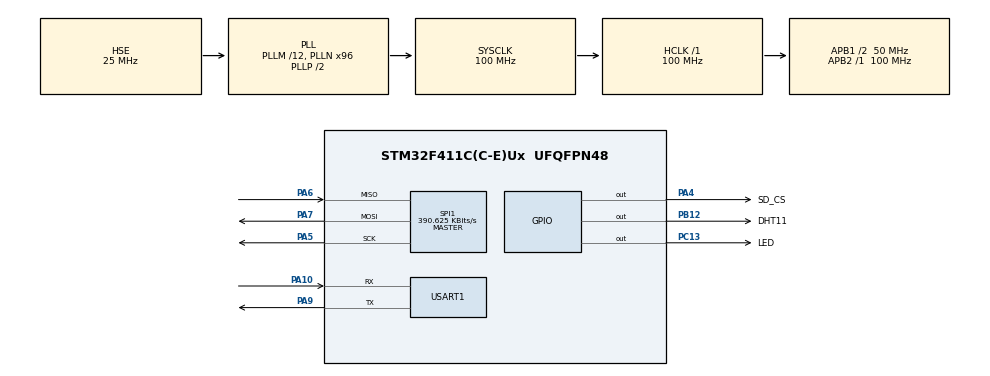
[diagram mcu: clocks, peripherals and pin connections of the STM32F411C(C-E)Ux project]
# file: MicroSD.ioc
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Mcu.Family=STM32F4
Mcu.Name=STM32F411C(C-E)Ux
Mcu.Package=UFQFPN48
NVIC.PriorityGroup=NVIC_PRIORITYGROUP_4
PA10.Mode=Asynchronous
PA10.Signal=USART1_RX
PA13.Mode=Serial_Wire
PA13.Signal=SYS_JTMS-SWDIO
PA14.Mode=Serial_Wire
PA14.Signal=SYS_JTCK-SWCLK
PA4.GPIO_Label=SD_CS
PA4.GPIO_PuPd=GPIO_PULLUP
PA4.PinState=GPIO_PIN_SET
PA4.Signal=GPIO_Output
PA5.GPIO_PuPd=GPIO_NOPULL
PA5.Mode=Full_Duplex_Master
PA5.Signal=SPI1_SCK
PA6.GPIO_PuPd=GPIO_NOPULL
PA6.Mode=Full_Duplex_Master
PA6.Signal=SPI1_MISO
PA7.GPIO_PuPd=GPIO_NOPULL
PA7.Mode=Full_Duplex_Master
PA7.Signal=SPI1_MOSI
PA9.Mode=Asynchronous
PA9.Signal=USART1_TX
PB12.GPIO_Label=DHT11
PB12.PinState=GPIO_PIN_SET
PB12.Signal=GPIO_Output
PC13-ANTI_TAMP.GPIO_Label=LED
PC13-ANTI_TAMP.Signal=GPIO_Output
PH0\ -\ OSC_IN.Mode=HSE-External-Oscillator
PH0\ -\ OSC_IN.Signal=RCC_OSC_IN
PH1\ -\ OSC_OUT.Mode=HSE-External-Oscillator
PH1\ -\ OSC_OUT.Signal=RCC_OSC_OUT
ProjectManager.HeapSize=0x200
ProjectManager.StackSize=0x1000
ProjectManager.TargetToolchain=STM32CubeIDE
RCC.48MHZClocksFreq_Value=50000000
RCC.AHBFreq_Value=100000000
RCC.APB1CLKDivider=RCC_HCLK_DIV2
RCC.APB1Freq_Value=50000000
RCC.APB1TimFreq_Value=100000000
RCC.APB2Freq_Value=100000000
RCC.APB2TimFreq_Value=100000000
RCC.CortexFreq_Value=100000000
RCC.HCLKFreq_Value=100000000
RCC.HSE_VALUE=25000000
RCC.HSI_VALUE=16000000
RCC.LSE_VALUE=32768
RCC.PLLM=12
RCC.PLLN=96
RCC.PLLSourceVirtual=RCC_PLLSOURCE_HSE
RCC.SYSCLKFreq_VALUE=100000000
RCC.SYSCLKSource=RCC_SYSCLKSOURCE_PLLCLK
RCC.VCOOutputFreq_Value=200000000
SPI1.BaudRatePrescaler=SPI_BAUDRATEPRESCALER_256
SPI1.CalculateBaudRate=390.625 KBits/s
SPI1.Direction=SPI_DIRECTION_2LINES
SPI1.Mode=SPI_MODE_MASTER
SPI1.VirtualType=VM_MASTER
TIM9.Prescaler=99
USART1.VirtualMode=VM_ASYNC
VP_FATFS_VS_Generic.Mode=User_defined
VP_TIM9_VS_ClockSourceINT.Mode=Internal
board=custom

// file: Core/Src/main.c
/* USER CODE BEGIN Header */
/**
  ******************************************************************************
  * @file           : main.c
  * @brief          : Main program body
  ******************************************************************************
  * @attention
  *
  * Copyright (c) 2026 STMicroelectronics.
  * All rights reserved.
  *
  * This software is licensed under terms that can be found in the LICENSE file
  * in the root directory of this software component.
  * If no LICENSE file comes with this software, it is provided AS-IS.
  *
  ******************************************************************************
  */
/* USER CODE END Header */
#include "main.h"
#include "fatfs.h"

/* USER CODE BEGIN Includes */
#include "dht11.h"
#include "string.h"
#include "sd_functions.h"
/* USER CODE END Includes */

/* USER CODE BEGIN PD */
#define INTERVALO_DHT   2000  // Leer sensor cada 2s
#define INTERVALO_CHECK 5000  // Verificar Join cada 5s
#define INTERVALO_SEND  15000 // Enviar datos cada 15s
/* USER CODE END PD */

SPI_HandleTypeDef hspi1;

TIM_HandleTypeDef htim9;

UART_HandleTypeDef huart1;

/* USER CODE BEGIN PV */

//--variables  de DHT11
char buffer[64];
uint8_t RHI, RHD, TCI , TCD, SUM ;
float tCelsius= 0 ;
float RH= 0 ;
uint8_t TFI=0 ;
uint8_t TFD= 0;

/* Variables para el control del tiempo */
uint32_t last_time_dht = 0;
uint32_t last_time_rak_check = 0;
uint32_t last_time_send = 0;

char linea_csv[48];

/* USER CODE END PV */

void SystemClock_Config(void);
static void MX_GPIO_Init(void);
static void MX_SPI1_Init(void);
static void MX_USART1_UART_Init(void);
static void MX_TIM9_Init(void);

int main(void)
{

  /* MCU Configuration--------------------------------------------------------*/

  /* Reset of all peripherals, Initializes the Flash interface and the Systick. */
  HAL_Init();

  /* Configure the system clock */
  SystemClock_Config();

  /* Initialize all configured peripherals */
  MX_GPIO_Init();
  MX_SPI1_Init();
  MX_USART1_UART_Init();
  MX_FATFS_Init();
  MX_TIM9_Init();
  /* USER CODE BEGIN 2 */
  /*
   * Para el DHT11
   */
  HAL_TIM_Base_Start(&htim9);// Inicializamos temporizadores
     uint32_t current_time = HAL_GetTick();
     last_time_dht = current_time;
     last_time_rak_check = current_time;
     last_time_send = current_time;
  HAL_Delay(INTERVALO_DHT);
  HAL_UART_Transmit(&huart1, (uint8_t*)"Iniciando Medicion\r\n",20, 100);

  /* USER CODE END 2 */

  /* Infinite loop */
  /* USER CODE BEGIN WHILE */
  while (1)
  {
	  current_time = HAL_GetTick(); // Hora actual en milisegundos
	  /*------Lectura del Sensor--*/
	  if (current_time - last_time_dht >= INTERVALO_DHT)
	        {
	            last_time_dht = current_time;

	            if(DHT11_Start()) {
	               RHI = DHT11_Read(); // Relative humidity integral
	               RHD = DHT11_Read(); // Relative humidity decimal
	               TCI = DHT11_Read(); // Celsius integral
	               TCD = DHT11_Read(); // Celsius decimal
	               SUM = DHT11_Read(); // Check sum
	                 if ((uint8_t)(RHI + RHD + TCI + TCD) == SUM)
	            		{
	            		  tCelsius = (float)TCI + (float)(TCD/10.0);
	            		  RH = (float)RHI + (float)(RHD/10.0);
	            		  int len = snprintf(buffer,sizeof(buffer),"T=%.2f,H=%.2f\r\n",tCelsius,RH);
	            		  	  HAL_UART_Transmit(&huart1,(uint8_t *) buffer,len, 200);

	            		snprintf(linea_csv,sizeof(linea_csv),"%lu,%.1f,%.1f\r\n",HAL_GetTick()/1000,tCelsius,RH);
	            		FRESULT r=sd_adjuntar_csv("DATOS.CSV","time,temp_C,hum_pct\r\n", linea_csv);
							if(r!=FR_OK){
								extern uint8_t sd_dbg_cmd0, sd_dbg_ty;
								int n = snprintf(buffer, sizeof(buffer), "SD ERROR %d CMD0=0x%02X TIPO=%d\r\n", r, sd_dbg_cmd0, sd_dbg_ty);
								HAL_UART_Transmit(&huart1, (uint8_t*)buffer, n, 150);
							}
	            		}
	                 else{
	                	 HAL_UART_Transmit(&huart1, (uint8_t*)"DHT ERROR CHECKSUM\r\n", 20, 100);
	                 }
	            }
	            else
	            {
               	 HAL_UART_Transmit(&huart1, (uint8_t*)"DHT ERROR START\r\n", 17, 100);

	            }
	        }

    /* USER CODE END WHILE */

  }
}

void SystemClock_Config(void)
{
  RCC_OscInitTypeDef RCC_OscInitStruct = {0};
  RCC_ClkInitTypeDef RCC_ClkInitStruct = {0};

  /** Configure the main internal regulator output voltage
  */
  __HAL_RCC_PWR_CLK_ENABLE();
  __HAL_PWR_VOLTAGESCALING_CONFIG(PWR_REGULATOR_VOLTAGE_SCALE1);

  /** Initializes the RCC Oscillators according to the specified parameters
  * in the RCC_OscInitTypeDef structure.
  */
  RCC_OscInitStruct.OscillatorType = RCC_OSCILLATORTYPE_HSE;
  RCC_OscInitStruct.HSEState = RCC_HSE_ON;
  RCC_OscInitStruct.PLL.PLLState = RCC_PLL_ON;
  RCC_OscInitStruct.PLL.PLLSource = RCC_PLLSOURCE_HSE;
  RCC_OscInitStruct.PLL.PLLM = 12;
  RCC_OscInitStruct.PLL.PLLN = 96;
  RCC_OscInitStruct.PLL.PLLP = RCC_PLLP_DIV2;
  RCC_OscInitStruct.PLL.PLLQ = 4;
  if (HAL_RCC_OscConfig(&RCC_OscInitStruct) != HAL_OK)
  {
    Error_Handler();
  }

  /** Initializes the CPU, AHB and APB buses clocks
  */
  RCC_ClkInitStruct.ClockType = RCC_CLOCKTYPE_HCLK|RCC_CLOCKTYPE_SYSCLK
                              |RCC_CLOCKTYPE_PCLK1|RCC_CLOCKTYPE_PCLK2;
  RCC_ClkInitStruct.SYSCLKSource = RCC_SYSCLKSOURCE_PLLCLK;
  RCC_ClkInitStruct.AHBCLKDivider = RCC_SYSCLK_DIV1;
  RCC_ClkInitStruct.APB1CLKDivider = RCC_HCLK_DIV2;
  RCC_ClkInitStruct.APB2CLKDivider = RCC_HCLK_DIV1;

  if (HAL_RCC_ClockConfig(&RCC_ClkInitStruct, FLASH_LATENCY_3) != HAL_OK)
  {
    Error_Handler();
  }
}

static void MX_SPI1_Init(void)
{

  /* SPI1 parameter configuration*/
  hspi1.Instance = SPI1;
  hspi1.Init.Mode = SPI_MODE_MASTER;
  hspi1.Init.Direction = SPI_DIRECTION_2LINES;
  hspi1.Init.DataSize = SPI_DATASIZE_8BIT;
  hspi1.Init.CLKPolarity = SPI_POLARITY_LOW;
  hspi1.Init.CLKPhase = SPI_PHASE_1EDGE;
  hspi1.Init.NSS = SPI_NSS_SOFT;
  hspi1.Init.BaudRatePrescaler = SPI_BAUDRATEPRESCALER_256;
  hspi1.Init.FirstBit = SPI_FIRSTBIT_MSB;
  hspi1.Init.TIMode = SPI_TIMODE_DISABLE;
  hspi1.Init.CRCCalculation = SPI_CRCCALCULATION_DISABLE;
  hspi1.Init.CRCPolynomial = 10;
  if (HAL_SPI_Init(&hspi1) != HAL_OK)
  {
    Error_Handler();
  }

}

static void MX_TIM9_Init(void)
{

  TIM_ClockConfigTypeDef sClockSourceConfig = {0};

  htim9.Instance = TIM9;
  htim9.Init.Prescaler = 99;
  htim9.Init.CounterMode = TIM_COUNTERMODE_UP;
  htim9.Init.Period = 65535;
  htim9.Init.ClockDivision = TIM_CLOCKDIVISION_DIV1;
  htim9.Init.AutoReloadPreload = TIM_AUTORELOAD_PRELOAD_DISABLE;
  if (HAL_TIM_Base_Init(&htim9) != HAL_OK)
  {
    Error_Handler();
  }
  sClockSourceConfig.ClockSource = TIM_CLOCKSOURCE_INTERNAL;
  if (HAL_TIM_ConfigClockSource(&htim9, &sClockSourceConfig) != HAL_OK)
  {
    Error_Handler();
  }

}

static void MX_USART1_UART_Init(void)
{

  huart1.Instance = USART1;
  huart1.Init.BaudRate = 115200;
  huart1.Init.WordLength = UART_WORDLENGTH_8B;
  huart1.Init.StopBits = UART_STOPBITS_1;
  huart1.Init.Parity = UART_PARITY_NONE;
  huart1.Init.Mode = UART_MODE_TX_RX;
  huart1.Init.HwFlowCtl = UART_HWCONTROL_NONE;
  huart1.Init.OverSampling = UART_OVERSAMPLING_16;
  if (HAL_UART_Init(&huart1) != HAL_OK)
  {
    Error_Handler();
  }

}

static void MX_GPIO_Init(void)
{
  GPIO_InitTypeDef GPIO_InitStruct = {0};

  /* GPIO Ports Clock Enable */
  __HAL_RCC_GPIOC_CLK_ENABLE();
  __HAL_RCC_GPIOH_CLK_ENABLE();
  __HAL_RCC_GPIOA_CLK_ENABLE();
  __HAL_RCC_GPIOB_CLK_ENABLE();

  /*Configure GPIO pin Output Level */
  HAL_GPIO_WritePin(LED_GPIO_Port, LED_Pin, GPIO_PIN_RESET);

  /*Configure GPIO pin Output Level */
  HAL_GPIO_WritePin(SD_CS_GPIO_Port, SD_CS_Pin, GPIO_PIN_SET);

  /*Configure GPIO pin Output Level */
  HAL_GPIO_WritePin(DHT11_GPIO_Port, DHT11_Pin, GPIO_PIN_SET);

  /*Configure GPIO pin : LED_Pin */
  GPIO_InitStruct.Pin = LED_Pin;
  GPIO_InitStruct.Mode = GPIO_MODE_OUTPUT_PP;
  GPIO_InitStruct.Pull = GPIO_NOPULL;
  GPIO_InitStruct.Speed = GPIO_SPEED_FREQ_LOW;
  HAL_GPIO_Init(LED_GPIO_Port, &GPIO_InitStruct);

  /*Configure GPIO pin : SD_CS_Pin */
  GPIO_InitStruct.Pin = SD_CS_Pin;
  GPIO_InitStruct.Mode = GPIO_MODE_OUTPUT_PP;
  GPIO_InitStruct.Pull = GPIO_PULLUP;
  GPIO_InitStruct.Speed = GPIO_SPEED_FREQ_LOW;
  HAL_GPIO_Init(SD_CS_GPIO_Port, &GPIO_InitStruct);

  /*Configure GPIO pin : DHT11_Pin */
  GPIO_InitStruct.Pin = DHT11_Pin;
  GPIO_InitStruct.Mode = GPIO_MODE_OUTPUT_PP;
  GPIO_InitStruct.Pull = GPIO_NOPULL;
  GPIO_InitStruct.Speed = GPIO_SPEED_FREQ_LOW;
  HAL_GPIO_Init(DHT11_GPIO_Port, &GPIO_InitStruct);

}

void Error_Handler(void)
{
  __disable_irq();
  while (1)
  {
  }
}
